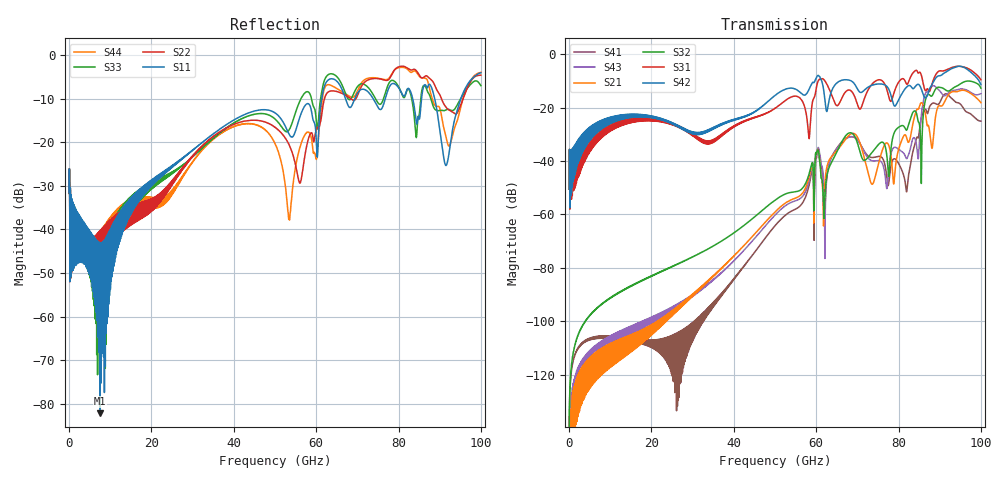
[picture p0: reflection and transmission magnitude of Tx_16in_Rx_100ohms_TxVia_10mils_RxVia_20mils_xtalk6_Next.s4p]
! Info: Touchstone file created by Circ.  Input file=Tx_16in_Rx_100ohms_TxVia_10mils_RxVia_20mils1.circ
# Hz S RI R 50
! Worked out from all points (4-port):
!   10000 points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, 10 MHz to 100 GHz, reference 50 ohm
!   strongest paths, dB at 10 MHz, 25.01 GHz, 50.01 GHz, 75.01 GHz, 100 GHz:
!     S42: -50.5, -26.1, -15.4, -11.1, -11.3
!     S31: -50.5, -26.4, -20.2, -9.6, -9.5
!     S32: -144.9, -79.6, -54.6, -34.0, -12.7
!     S21: -160.8, -96.9, -59.0, -41.7, -18.1
!     S43: -146.9, -94.9, -60.2, -39.8, -14.8
!     S41: -145.1, -106.8, -64.2, -38.3, -25.0
!   lowest |S11| = -82.2 dB at 7.54 GHz (marker M1), VSWR 1.00, Z = 50 - j0.000803 ohm
!   |S11| at or under -10 dB: start of sweep to 61.35 GHz; 73.87 GHz to 76.77 GHz (2.9 GHz wide, 3.85 % of centre); 88.79 GHz to 95.12 GHz (6.327 GHz wide, 6.88 % of centre) (the widest 3 of 5)
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1e7  0.0247 0.0087  5.6e-09 7.16e-09  0.00116 0.00275  1.85e-08 5.27e-08
     5.6e-09 7.16e-09  0.0247 0.0087  -4.1e-10 5.7e-08  0.00116 0.00275
     0.00116 0.00275  -4.1e-10 5.7e-08  0.0245 0.00875  -6.78e-09 4.49e-08
     1.85e-08 5.27e-08  0.00116 0.00275  -6.78e-09 4.49e-08  0.0245 0.00874
7.54e9  -7.71e-05 -8.03e-06  1.96e-06 2.26e-06  0.026 0.0322  4.74e-07 5.22e-06
        1.96e-06 2.26e-06  0.0084 0.00485  1.19e-05 1.61e-05  0.0375 0.0325
        0.026 0.0322  1.19e-05 1.61e-05  3.08e-05 0.000493  2.71e-06 3.09e-06
        4.74e-07 5.22e-06  0.0375 0.0325  2.71e-06 3.09e-06  0.00744 0.00531
3.821e10  0.0954 0.1291  4.17e-05 -0.000112  0.00972 0.0343  2.05e-05 -3.49e-05
          4.17e-05 -0.000112  0.1379 0.051  -6.46e-05 -0.000358  0.0474 0.0244
          0.00972 0.0343  -6.46e-05 -0.000358  0.0763 0.1253  -2.04e-05 -9.64e-05
          2.05e-05 -3.49e-05  0.0474 0.0244  -2.04e-05 -9.64e-05  0.125 0.0602
6.038e10  0.0702 -0.0345  0.0131 -0.0101  0.0102 0.3021  0.00927 -0.0127
          0.0131 -0.0101  0.1499 0.00367  0.0125 -0.0104  0.4004 -0.0118
          0.0102 0.3021  0.0125 -0.0104  0.1092 -0.1004  0.00942 -0.0146
          0.00927 -0.0127  0.4004 -0.0118  0.00942 -0.0146  0.0783 -0.0333
7.71e10  -0.208 0.2903  -0.0219 -0.00178  0.055 -0.2197  -0.0042 -0.00347
         -0.0219 -0.00178  0.2968 -0.4205  -0.00627 -0.0123  -0.251 0.0312
         0.055 -0.2197  -0.00627 -0.0123  -0.2385 0.3351  -0.00312 2.44e-06
         -0.0042 -0.00347  -0.251 0.0312  -0.00312 2.44e-06  0.3305 -0.4088
8.801e10  -0.0153 -0.4268  0.0131 -0.0132  -0.0992 0.2392  0.0956 0.0672
          0.0131 -0.0132  -0.3227 0.4078  -0.0036 0.164  0.114 0.2355
          -0.0992 0.2392  -0.0036 0.164  -0.2538 -0.158  0.1652 0.1829
          0.0956 0.0672  0.114 0.2355  0.1652 0.1829  -0.1793 0.2874
1e11  -0.6302 0.0179  0.0979 -0.0765  0.0719 0.3257  -0.0516 -0.0216
      0.0979 -0.0765  -0.591 0.0387  0.119 0.1993  0.0989 0.2526
      0.0719 0.3257  0.119 0.1993  -0.4414 0.0762  0.1203 -0.1374
      -0.0516 -0.0216  0.0989 0.2526  0.1203 -0.1374  -0.6321 0.0866
